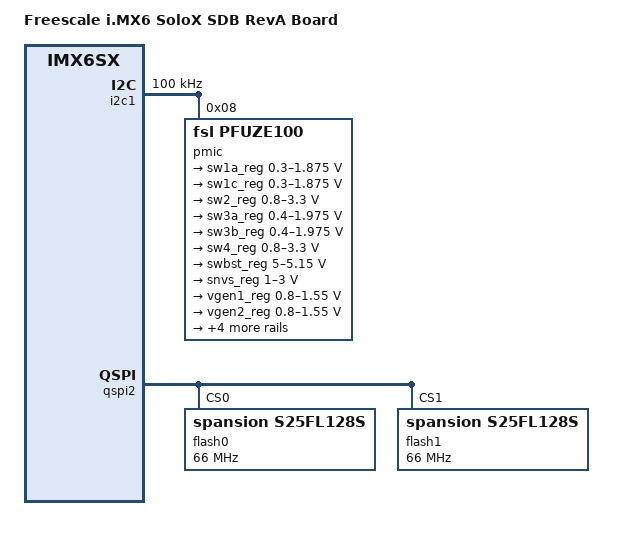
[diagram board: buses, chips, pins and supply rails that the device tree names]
/*
 * Copyright (C) 2015 Freescale Semiconductor, Inc.
 *
 * This program is free software; you can redistribute it and/or modify
 * it under the terms of the GNU General Public License version 2 as
 * published by the Free Software Foundation.
 */

#include "imx6sx-sdb.dtsi"

/ {
	model = "Freescale i.MX6 SoloX SDB RevA Board";
};

&i2c1 {
	clock-frequency = <100000>;
	pinctrl-names = "default";
	pinctrl-0 = <&pinctrl_i2c1>;
	status = "okay";

	pmic: pfuze100@08 {
		compatible = "fsl,pfuze100";
		reg = <0x08>;

		regulators {
			sw1a_reg: sw1ab {
				regulator-min-microvolt = <300000>;
				regulator-max-microvolt = <1875000>;
				regulator-boot-on;
				regulator-always-on;
				regulator-ramp-delay = <6250>;
			};

			sw1c_reg: sw1c {
				regulator-min-microvolt = <300000>;
				regulator-max-microvolt = <1875000>;
				regulator-boot-on;
				regulator-always-on;
				regulator-ramp-delay = <6250>;
			};

			sw2_reg: sw2 {
				regulator-min-microvolt = <800000>;
				regulator-max-microvolt = <3300000>;
				regulator-boot-on;
				regulator-always-on;
			};

			sw3a_reg: sw3a {
				regulator-min-microvolt = <400000>;
				regulator-max-microvolt = <1975000>;
				regulator-boot-on;
				regulator-always-on;
			};

			sw3b_reg: sw3b {
				regulator-min-microvolt = <400000>;
				regulator-max-microvolt = <1975000>;
				regulator-boot-on;
				regulator-always-on;
			};

			sw4_reg: sw4 {
				regulator-min-microvolt = <800000>;
				regulator-max-microvolt = <3300000>;
			};

			swbst_reg: swbst {
				regulator-min-microvolt = <5000000>;
				regulator-max-microvolt = <5150000>;
			};

			snvs_reg: vsnvs {
				regulator-min-microvolt = <1000000>;
				regulator-max-microvolt = <3000000>;
				regulator-boot-on;
				regulator-always-on;
			};

			vref_reg: vrefddr {
				regulator-boot-on;
				regulator-always-on;
			};

			vgen1_reg: vgen1 {
				regulator-min-microvolt = <800000>;
				regulator-max-microvolt = <1550000>;
				regulator-always-on;
			};

			vgen2_reg: vgen2 {
				regulator-min-microvolt = <800000>;
				regulator-max-microvolt = <1550000>;
			};

			vgen3_reg: vgen3 {
				regulator-min-microvolt = <1800000>;
				regulator-max-microvolt = <3300000>;
				regulator-always-on;
			};

			vgen4_reg: vgen4 {
				regulator-min-microvolt = <1800000>;
				regulator-max-microvolt = <3300000>;
				regulator-always-on;
			};

			vgen5_reg: vgen5 {
				regulator-min-microvolt = <1800000>;
				regulator-max-microvolt = <3300000>;
				regulator-always-on;
			};

			vgen6_reg: vgen6 {
				regulator-min-microvolt = <1800000>;
				regulator-max-microvolt = <3300000>;
				regulator-always-on;
			};
		};
	};
};

&qspi2 {
	pinctrl-names = "default";
	pinctrl-0 = <&pinctrl_qspi2>;
	status = "okay";

	flash0: s25fl128s@0 {
		reg = <0>;
		#address-cells = <1>;
		#size-cells = <1>;
		compatible = "spansion,s25fl128s", "jedec,spi-nor";
		spi-max-frequency = <66000000>;
	};

	flash1: s25fl128s@1 {
		reg = <1>;
		#address-cells = <1>;
		#size-cells = <1>;
		compatible = "spansion,s25fl128s", "jedec,spi-nor";
		spi-max-frequency = <66000000>;
	};
};
